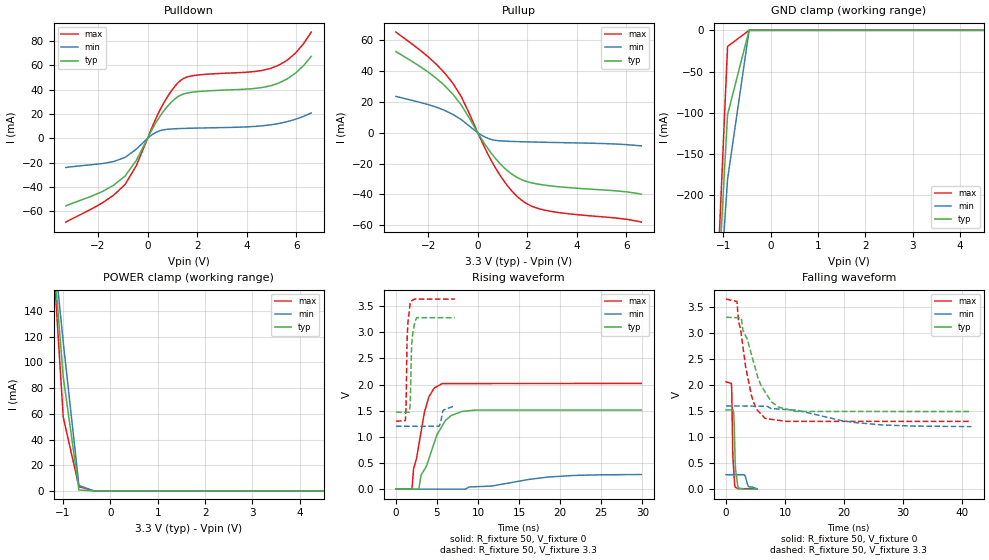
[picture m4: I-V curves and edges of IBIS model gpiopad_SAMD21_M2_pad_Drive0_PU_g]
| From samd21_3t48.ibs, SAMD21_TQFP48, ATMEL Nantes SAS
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|   MODEL : gpiopad_SAMD21_M2_pad_Drive0_PU_g
[Model] gpiopad_SAMD21_M2_pad_Drive0_PU_g
Model_type I/O
Vinl  =  0.99
Vinh  =  2.31
Vmeas =  1.650
| Capacitance   typ   min   max
C_comp   1.45231p   1.42406p   1.52865p
| Variables   typ   min   max
[GND Clamp Reference]   0   0   0
[POWER Clamp Reference]   3.3   1.6   3.65
[Pulldown Reference]   0   0   0
[Pullup Reference]   3.3   1.6   3.65
[Temperature Range]   25   105   -40
[Voltage Range]   3.3   1.6   3.65
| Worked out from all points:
|   slope of the pulldown table from 0 to 0.495 V, typ, clamps not added: 27.5 ohm
|   slope of the pullup table from 0 to 0.495 V, typ, clamps not added: 40.8 ohm
|   falling waveform, R_fixture 50, V_fixture 0: 20-80 % time 310ps typ, 447ps min, 268ps max; typ from 1.52 V to 0.005 V
|   falling waveform, R_fixture 50, V_fixture 3.3: 20-80 % time 3.37ns typ, 10.2ns min, 2.19ns max; typ from 3.3 V to 1.49 V
|   rising waveform, R_fixture 50, V_fixture 0: 20-80 % time 2.45ns typ, 6.98ns min, 1.57ns max; typ from 0 V to 1.51 V
|   rising waveform, R_fixture 50, V_fixture 3.3: 20-80 % time 243ps typ, 444ps min, 206ps max; typ from 1.47 V to 3.28 V
[GND Clamp]
| Voltage   I(typ)   I(min)   I(max)
-3.3V     -2.648A    -2.29A     -3.229A
-1.364V   -582.6mA   -574.2mA   -618.1mA
-909.1mV  -102.2mA   -180.5mA   -19.58mA
-454.5mV  -21.35uA   -51.34uA   -12.12uA
6.6V      0A         0A         0A
[POWER Clamp]
| Voltage   I(typ)   I(min)   I(max)
-3.3V     1.364A     1.145A     1.657A
-1.327V   242.2mA    237.8mA    253.7mA
-995.5mV  88.95mA    115.9mA    57.49mA
-663.6mV  729.7uA    4.271mA    3.277mA
-350mV    1.89uA     6.551uA    83.14uA
6.6V      0A         0A         0A
[Pulldown]
| Voltage   I(typ)   I(min)   I(max)
-3.3V     -55.55mA   -23.94mA   -68.88mA
-1.818V   -43.63mA   -20.7mA    -52.94mA
-909.1mV  -30.98mA   -15.68mA   -37.89mA
-454.5mV  -18.04mA   -8.89mA    -22.41mA
154.7mV   6.272mA    2.59mA     7.905mA
567.2mV   20.14mA    6.629mA    25.86mA
979.7mV   30.15mA    7.712mA    39.51mA
1.341V    35.55mA    8.051mA    47.68mA
1.959V    38.25mA    8.397mA    51.83mA
4.959V    43.17mA    11.07mA    57.42mA
5.955V    53.35mA    15.56mA    69.8mA
6.6V      67.29mA    20.81mA    87.26mA
[Pullup]
| Voltage   I(typ)   I(min)   I(max)
-3.3V     52.59mA    23.53mA    65.18mA
-1.991V   39.2mA     18.18mA    49.05mA
-1.327V   30.39mA    14.41mA    38.57mA
-995.5mV  24.79mA    11.78mA    31.87mA
-663.6mV  17.93mA    8.464mA    23.38mA
103.1mV   -2.756mA   -1.095mA   -3.561mA
670.3mV   -15.78mA   -4.81mA    -21.55mA
1.238V    -25.1mA    -5.553mA   -35.09mA
1.753V    -30.28mA   -5.829mA   -43.5mA
2.217V    -32.6mA    -6.025mA   -47.84mA
2.888V    -34.34mA   -6.261mA   -50.75mA
6.6V      -39.86mA   -8.525mA   -57.96mA
[Ramp]
dV/dt_r   0.913465/2.46764n  0.168178/6.98667n  1.23694/1.61372n
dV/dt_f   1.09661/3.43885n  0.238316/10.2022n  1.41004/2.19264n
R_load = 50
[Falling Waveform]
R_fixture = 50
V_fixture = 0
V_fixture_min = 0
V_fixture_max = 0
| Time   V(typ)   V(min)   V(max)
0s        1.522V     280.3mV    2.062V
901.1ps   1.522V     280.3mV    2.032V
986.8ps   1.522V     280.3mV    1.787V
1.12ns    1.522V     280.3mV    805mV
1.162ns   1.522V     280.3mV    621.2mV
1.372ns   1.29V      280.3mV    243.8mV
1.559ns   507.4mV    280.3mV    39.67mV
2.089ns   25.99mV    280.3mV    11.94mV
3.126ns   4.929mV    277.7mV    11.9mV
5.285ns   4.899mV    2.701mV    11.83mV
[Falling Waveform]
R_fixture = 50
V_fixture = 3.3
V_fixture_min = 1.6
V_fixture_max = 3.65
| Time   V(typ)   V(min)   V(max)
0s        3.3V       1.6V       3.65V
1.842ns   3.293V     1.598V     3.605V
2.124ns   3.292V     1.598V     3.206V
2.584ns   3.29V      1.598V     2.971V
2.851ns   3.049V     1.597V     2.747V
4.322ns   2.582V     1.596V     1.791V
6.634ns   1.868V     1.594V     1.359V
11.79ns   1.494V     1.519V     1.304V
21.69ns   1.494V     1.282V     1.304V
41.63ns   1.492V     1.203V     1.303V
[Rising Waveform]
R_fixture = 50
V_fixture = 0
V_fixture_min = 0
V_fixture_max = 0
| Time   V(typ)   V(min)   V(max)
0s        2.582nV    16.82nV    2.172nV
1.925ns   1.212mV    16.82nV    778.4uV
2.149ns   1.353mV    16.82nV    392.5mV
2.79ns    1.757mV    16.82nV    849mV
3.065ns   272.6mV    16.82nV    1.101V
4.022ns   587mV      16.82nV    1.77V
5.643ns   1.213V     16.82nV    2.02V
6.758ns   1.411V     16.82nV    2.02V
9.62ns    1.513V     46.47mV    2.02V
29.88ns   1.513V     279.7mV    2.023V
[Rising Waveform]
R_fixture = 50
V_fixture = 3.3
V_fixture_min = 1.6
V_fixture_max = 3.65
| Time   V(typ)   V(min)   V(max)
0s        1.472V     1.203V     1.3V
1.147ns   1.472V     1.203V     1.311V
1.24ns    1.472V     1.203V     1.655V
1.39ns    1.472V     1.203V     2.982V
1.758ns   1.76V      1.203V     3.584V
1.931ns   2.794V     1.203V     3.602V
2.527ns   3.281V     1.203V     3.636V
5.244ns   3.281V     1.203V     3.636V
5.754ns   3.281V     1.51V      3.636V
7.17ns    3.281V     1.596V     3.636V
[Add Submodel]
| Submodel Name Mode
M2_pad_Drive0_PU_g_T Non-Driving
